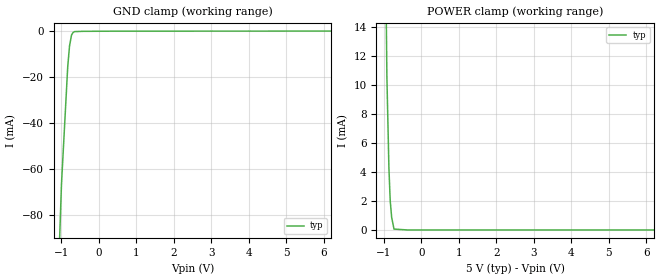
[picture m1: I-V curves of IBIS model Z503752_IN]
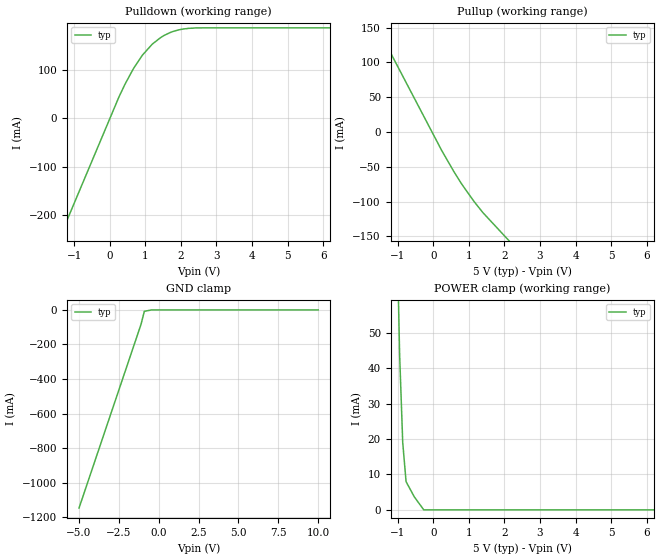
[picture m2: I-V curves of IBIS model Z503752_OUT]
| YOU ARE ONLY AUTHORIZED TO USE THIS SOFTWARE
| ACCORDING TO LICENSOR'S LICENSE RESTRICTIONS.
[IBIS Ver] 3.1
[File Name] mc74ac174n.ibs
[File Rev] 2.0
[Source] Measured and created by ICX Technology
[Date] Friday 7/14/00 9:07:59 AM
[Copyright]
| (C) COPYRIGHT 1993-2000
| MENTOR GRAPHICS CORPORATION
| ICX STANDARD LIBRARY, ICX PROJECT MODELING,
| ICX CUSTOM MODELING, ICX VENDOR MODEL
| ALL RIGHTS RESERVED.
| THE FOLLOWING ARE TRADEMARKS OR SERVICE MARKS OF
| MENTOR GRAPHICS CORPORATION:ICX (R), ICX STANDARD
| LIBRARY(R), ICX PROJECT MODELING(R), ICX CUSTOM
| MODELING(R), qualityIBIS(TM), MODELVIEWER(TM),
| AND MODELEDITOR(TM)
| ALL COPIES OF SOFTWARE, INCLUDING BUT NOT LIMITED TO
| ANY MODIFICATIONS, ENHANCEMENTS OR DERIVATIVE WORKS,
| MUST CONTAIN ALL MENTOR GRAPHICS CORPORATION'S
| NOTICES AND LEGENDS, INCLUDING THOSE EMBEDDED IN
| SOFTWARE AND THOSE AFFIXED TO SOFTWARE MEDIUM
| AND CONTAINER, AS RECEIVED FROM MENTOR GRAPHICS
| CORPORATION.
|  ZAP Model Builder 2.7
[Component] MC74AC174N
[Manufacturer] OnSemiconductor
[Package]
| variable   typ   min   max
R_pkg  .212ohms NA NA
L_pkg  4.758nH NA NA
C_pkg  1.143pF NA NA
[Pin] signal_name  model_name  R_pin  L_pin C_pin
1 _CLR Z503752_IN .224 7.258n 1.578p
2 Q0 Z503752_OUT .216 5.258n 1.288p
3 D0 Z503752_IN .208 3.758n .998p
4 D1 Z503752_IN .2 2.758n .708p
5 Q1 Z503752_OUT .2 2.758n .708p
6 D2 Z503752_IN .208 3.758n .998p
7 Q2 Z503752_OUT .216 5.258n 1.288p
8 GND GND .224 7.258n 1.578p
9 CLK Z503752_IN .224 7.258n 1.578p
10 Q3 Z503752_OUT .216 5.258n 1.288p
11 D3 Z503752_IN .208 3.758n .998p
12 Q4 Z503752_OUT .2 2.758n .708p
13 D4 Z503752_IN .2 2.758n .708p
14 D5 Z503752_IN .208 3.758n .998p
15 Q5 Z503752_OUT .216 5.258n 1.288p
16 VCC POWER .224 7.258n 1.578p
| Models and submodels in the file (2): Z503752_IN (Input), Z503752_OUT (Output)
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| (C) COPYRIGHT 1993-2000
| MENTOR GRAPHICS CORPORATION
| ICX STANDARD LIBRARY, ICX PROJECT MODELING,
| ICX CUSTOM MODELING, ICX VENDOR MODEL
| ALL RIGHTS RESERVED.
| THE FOLLOWING ARE TRADEMARKS OR SERVICE MARKS OF
| MENTOR GRAPHICS CORPORATION:ICX (R), ICX STANDARD
| LIBRARY(R), ICX PROJECT MODELING(R), ICX CUSTOM
| MODELING(R), qualityIBIS(TM), MODELVIEWER(TM),
| AND MODELEDITOR(TM)
| ALL COPIES OF SOFTWARE, INCLUDING BUT NOT LIMITED TO
| ANY MODIFICATIONS, ENHANCEMENTS OR DERIVATIVE WORKS,
| MUST CONTAIN ALL MENTOR GRAPHICS CORPORATION'S
| NOTICES AND LEGENDS, INCLUDING THOSE EMBEDDED IN
| SOFTWARE AND THOSE AFFIXED TO SOFTWARE MEDIUM
| AND CONTAINER, AS RECEIVED FROM MENTOR GRAPHICS
| CORPORATION.
| Model Application Version 1.89 2/18/99.
[Model] Z503752_IN
Model_type Input
Vinl = 1.500V
Vinh = 3.500V
C_comp 4.000pF NA NA
| variable typ   min   max
[Voltage Range] 5.000V NA NA
[GND Clamp Reference] 0.000V NA NA
[POWER Clamp Reference] 5.000V NA NA
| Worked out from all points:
|   GND clamp passes 1 mA (typ) near -0.71 V on its own axis
|   POWER clamp passes 1 mA (typ) near -0.80 V on its own axis
[GND Clamp]
-5V       -2.758A    NA         NA
-1.089V   -111mA     NA         NA
-995.7mV  -66.41mA   NA         NA
-830.2mV  -15.61mA   NA         NA
-781.3mV  -6.308mA   NA         NA
-727.7mV  -1.516mA   NA         NA
-684.5mV  -400.2uA   NA         NA
-644.9mV  -53.02uA   NA         NA
10V       183.9uA    NA         NA
[POWER Clamp]
-5V       1.954A     NA         NA
-1.142V   83.25mA    NA         NA
-1.015V   34.38mA    NA         NA
-918mV    10.54mA    NA         NA
-864mV    4.265mA    NA         NA
-830mV    2.037mA    NA         NA
-791mV    867.1uA    NA         NA
-728mV    60.2uA     NA         NA
-364mV    0A         NA         NA
10V       0A         NA         NA
| (C) COPYRIGHT 1993-2000
| MENTOR GRAPHICS CORPORATION
| ICX STANDARD LIBRARY, ICX PROJECT MODELING,
| ICX CUSTOM MODELING, ICX VENDOR MODEL
| ALL RIGHTS RESERVED.
| THE FOLLOWING ARE TRADEMARKS OR SERVICE MARKS OF
| MENTOR GRAPHICS CORPORATION:ICX (R), ICX STANDARD
| LIBRARY(R), ICX PROJECT MODELING(R), ICX CUSTOM
| MODELING(R), qualityIBIS(TM), MODELVIEWER(TM),
| AND MODELEDITOR(TM)
| ALL COPIES OF SOFTWARE, INCLUDING BUT NOT LIMITED TO
| ANY MODIFICATIONS, ENHANCEMENTS OR DERIVATIVE WORKS,
| MUST CONTAIN ALL MENTOR GRAPHICS CORPORATION'S
| NOTICES AND LEGENDS, INCLUDING THOSE EMBEDDED IN
| SOFTWARE AND THOSE AFFIXED TO SOFTWARE MEDIUM
| AND CONTAINER, AS RECEIVED FROM MENTOR GRAPHICS
| CORPORATION.
| Model Application Version 1.89 2/18/99.
[Model] Z503752_OUT
Model_type Output
Vref=0.000V
Rref=500.0ohms
Cref=50.00pF
Vmeas=2.500V
C_comp 8.000pF NA NA
| variable typ   min   max
[Voltage Range] 5.000V NA NA
[POWER Clamp Reference] 5.000V NA NA
[Pullup Reference] 5.000V NA NA
[Pulldown Reference] 0.000V NA NA
[GND Clamp Reference] 0.000V NA NA
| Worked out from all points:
|   slope of the pulldown table from 0 to 0.75 V, typ, clamps not added: 6.64 ohm
|   slope of the pullup table from 0 to 0.75 V, typ, clamps not added: 11.1 ohm
[GND Clamp]
-5V       -1.147A    NA         NA
-1.108V   -82.29mA   NA         NA
-906.1mV  -8.13mA    NA         NA
-453mV    0A         NA         NA
10V       0A         NA         NA
[Pulldown]
-5V       -873.2mA   NA         NA
258.8mV   44.53mA    NA         NA
429.8mV   70.95mA    NA         NA
674.6mV   104.1mA    NA         NA
923.8mV   131.3mA    NA         NA
1.196V    153.6mA    NA         NA
1.426V    166.9mA    NA         NA
1.693V    177.4mA    NA         NA
2.084V    185.1mA    NA         NA
2.441V    187.2mA    NA         NA
10V       187.3mA    NA         NA
[Pullup]
-5V       484.4mA    NA         NA
234mV     -26.23mA   NA         NA
581mV     -56.96mA   NA         NA
801mV     -74.87mA   NA         NA
1.153V    -100.2mA   NA         NA
1.396V    -115.8mA   NA         NA
10V       -588.5mA   NA         NA
[POWER Clamp]
-5V       1.935A     NA         NA
-947mV    43.9mA     NA         NA
-860mV    19.03mA    NA         NA
-766mV    7.983mA    NA         NA
-537mV    3.716mA    NA         NA
-268.5mV  0A         NA         NA
10V       0A         NA         NA
[Ramp]
| variable typ min max
dV/dt_r 2.958/388.3p NA NA
dV/dt_f 2.958/536.7p NA NA
R_load = 500.0Ohms
